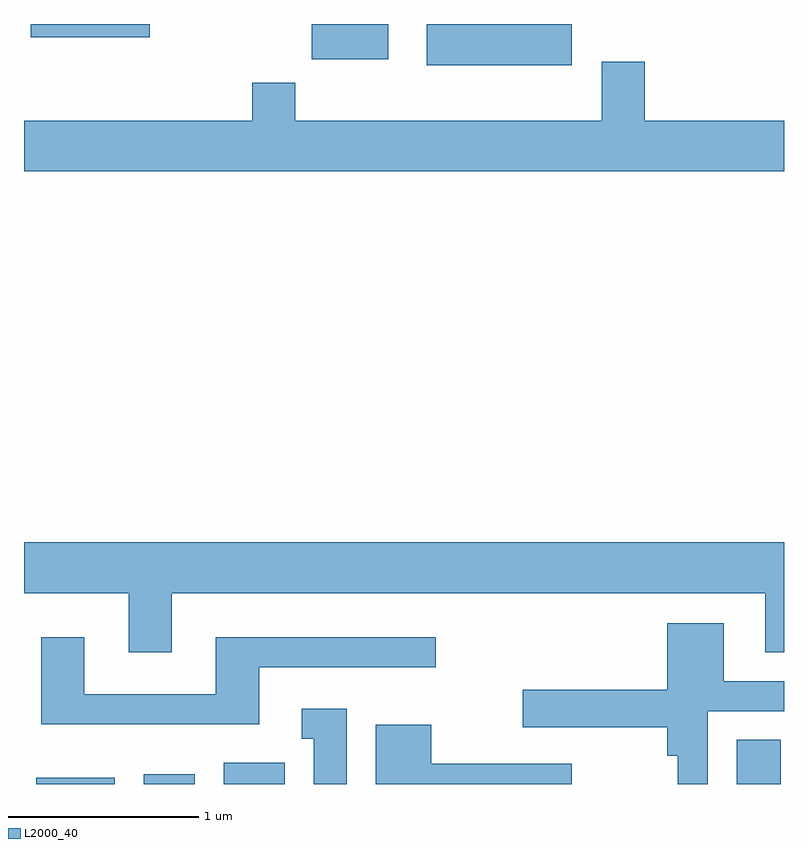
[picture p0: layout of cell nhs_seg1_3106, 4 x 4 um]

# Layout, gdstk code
import gdstk
lib = gdstk.Library(unit=1e-6, precision=1e-09)
def R(c, l, rs):  # rectangles x0, y0, x1, y1
    for r in rs: c.add(gdstk.rectangle(r[:2], r[2:], *l))
def P(c, l, *ps):  # polygons
    for p in ps: c.add(gdstk.Polygon(p, *l))
L2000_40 = (2000, 40)

nhs_seg1_3106 = lib.new_cell('nhs_seg1_3106')
R(nhs_seg1_3106, L2000_40, [(279.676,869.712,280.089,869.744), (280.241,869.712,280.509,869.764), (280.661,869.712,280.984,869.824), (283.361,869.712,283.594,869.944), (281.731,873.496,282.494,873.712), (281.126,873.526,281.529,873.712), (279.646,873.641,280.274,873.712)])
P(nhs_seg1_3106, L2000_40, [(283.611,873.204),(282.879,873.204),(282.879,873.514),(282.651,873.514),(282.651,873.204),(281.039,873.204),(281.039,873.404),(280.811,873.404),(280.811,873.204),(279.611,873.204),(279.611,872.936),(283.611,872.936)],
  [(280.389,870.716),(283.511,870.716),(283.511,870.406),(283.611,870.406),(283.611,870.984),(279.611,870.984),(279.611,870.716),(280.161,870.716),(280.161,870.406),(280.389,870.406)],
  [(283.209,870.096),(283.611,870.096),(283.611,870.254),(283.294,870.254),(283.294,870.559),(282.996,870.559),(282.996,870.209),(282.236,870.209),(282.236,870.011),(282.996,870.011),(282.996,869.861),(283.051,869.861),(283.051,869.712),(283.209,869.712)],
  [(280.849,870.326),(281.778,870.326),(281.778,870.484),(280.621,870.484),(280.621,870.184),(279.929,870.184),(279.929,870.484),(279.701,870.484),(279.701,870.026),(280.849,870.026)],
  [(281.309,870.109),(281.073,870.109),(281.073,869.951),(281.136,869.951),(281.136,869.712),(281.309,869.712)],
  [(282.494,869.819),(281.754,869.819),(281.754,870.024),(281.461,870.024),(281.461,869.712),(282.494,869.712)])

lib.write_gds('nhs_seg1_3106.gds')
